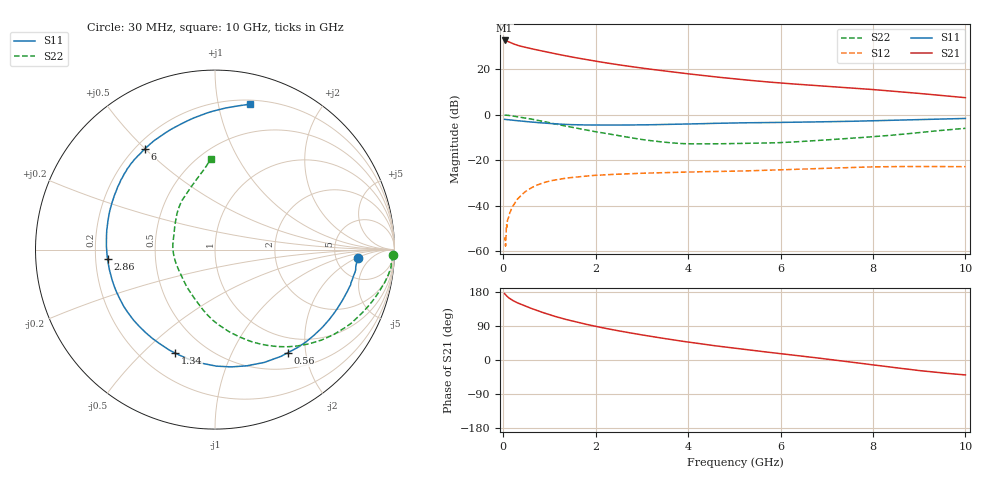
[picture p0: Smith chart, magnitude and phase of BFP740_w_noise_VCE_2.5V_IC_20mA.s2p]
! Infineon Technologies  Discrete & RF Semiconductors
! BFP740
! VCE =  2.5 V,  IC =  20 mA
! Common Emitter S-Parameters:  Jan 2016
# GHz  S  MA  R  50
!  f  S11  S21  S12  S22
! GHz  MAG  ANG  MAG  ANG  MAG  ANG  MAG  ANG
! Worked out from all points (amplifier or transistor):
!   229 points, 30 MHz to 10 GHz, reference 50 ohm
!   highest |S21| = 32.7 dB at 30 MHz (marker M1)
!   |S21| within 3 dB of that: start of sweep to 472.4 MHz
!   unconditionally stable (mu >= 1): 6.355 GHz to end of sweep
!   at 280 MHz: K = 0.21, MSG = 34.3 dB, |S12| = -37.9 dB
!   at 1.78 GHz: K = 0.44, MSG = 25.6 dB, |S12| = -26.9 dB
!   at 10 GHz: K = 1.02, MAG = 14.2 dB, |S12| = -22.8 dB
!   lowest NFmin = 0.68 dB at 450 MHz
!   S11 on the Smith chart (normalised r, x): 30 MHz: 8.30, -2.16; 560 MHz: 0.74, -1.68; 1.34 GHz: 0.34, -0.63; 2.86 GHz: 0.25, -0.04; 6 GHz: 0.24, +0.50; 10 GHz: 0.23, +1.25
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0.03  0.7974 -3.4  43.24 175.0  0.0018 79.6  0.9902 -1.8
0.06  0.7901 -6.9  42.68 170.8  0.002 69.5  0.9846 -4.4
0.11  0.7828 -12.5  40.7 165.0  0.0054 77.0  0.9757 -8.3
0.15  0.7752 -16.8  38.97 161.3  0.0074 82.5  0.9616 -11.2
0.2  0.7641 -21.8  37.15 157.4  0.0095 77.9  0.9443 -14.3
0.34  0.7396 -35.2  33.13 149.2  0.0152 73.4  0.8982 -22.3
0.4  0.7295 -40.8  31.95 146.0  0.0173 70.1  0.8779 -25.6
0.56  0.7032 -54.8  29.22 138.5  0.0232 62.6  0.8248 -33.8
0.78  0.6731 -73.0  26.16 128.5  0.0298 54.9  0.7484 -44.1
0.9  0.6597 -82.2  24.7 123.5  0.033 51.0  0.7062 -49.5
1.1  0.6379 -96.2  22.37 115.8  0.0369 45.4  0.64 -57.5
1.34  0.6176 -111.0  19.98 107.7  0.0403 39.6  0.5709 -65.9
1.7  0.6026 -130.1  17.09 96.9  0.0445 33.4  0.4845 -77.1
2.2  0.5974 -151.9  14.04 83.8  0.048 26.2  0.393 -91.9
2.86  0.601 -174.8  11.19 69.2  0.0515 20.2  0.3022 -110.6
3.4  0.6126 169.8  9.476 58.4  0.0537 16.1  0.2567 -128.7
4.2  0.6379 151.0  7.577 43.9  0.056 11.4  0.2307 -157.5
5.1  0.6663 135.8  6.059 29.6  0.0582 7.6  0.2351 177.4
6  0.6828 125.0  5.028 16.8  0.0618 4.7  0.2457 158.0
6.8  0.7018 115.6  4.381 5.4  0.066 0.9  0.2727 143.3
8.4  0.7618 93.5  3.343 -19.0  0.0729 -9.7  0.3564 115.1
10  0.8346 76.3  2.389 -39.4  0.0727 -19.0  0.5065 92.6
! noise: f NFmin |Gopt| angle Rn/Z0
0.45  0.68  0.07  3  0.22
0.9  0.68  0.08  19  0.21
1.5  0.71  0.08  38  0.21
1.9  0.73  0.08  49  0.2
2.4  0.76  0.08  60  0.19
3.5  0.86  0.08  134  0.18
5.5  1.03  0.18  -118  0.16
10  1.39  0.51  -67  0.23
